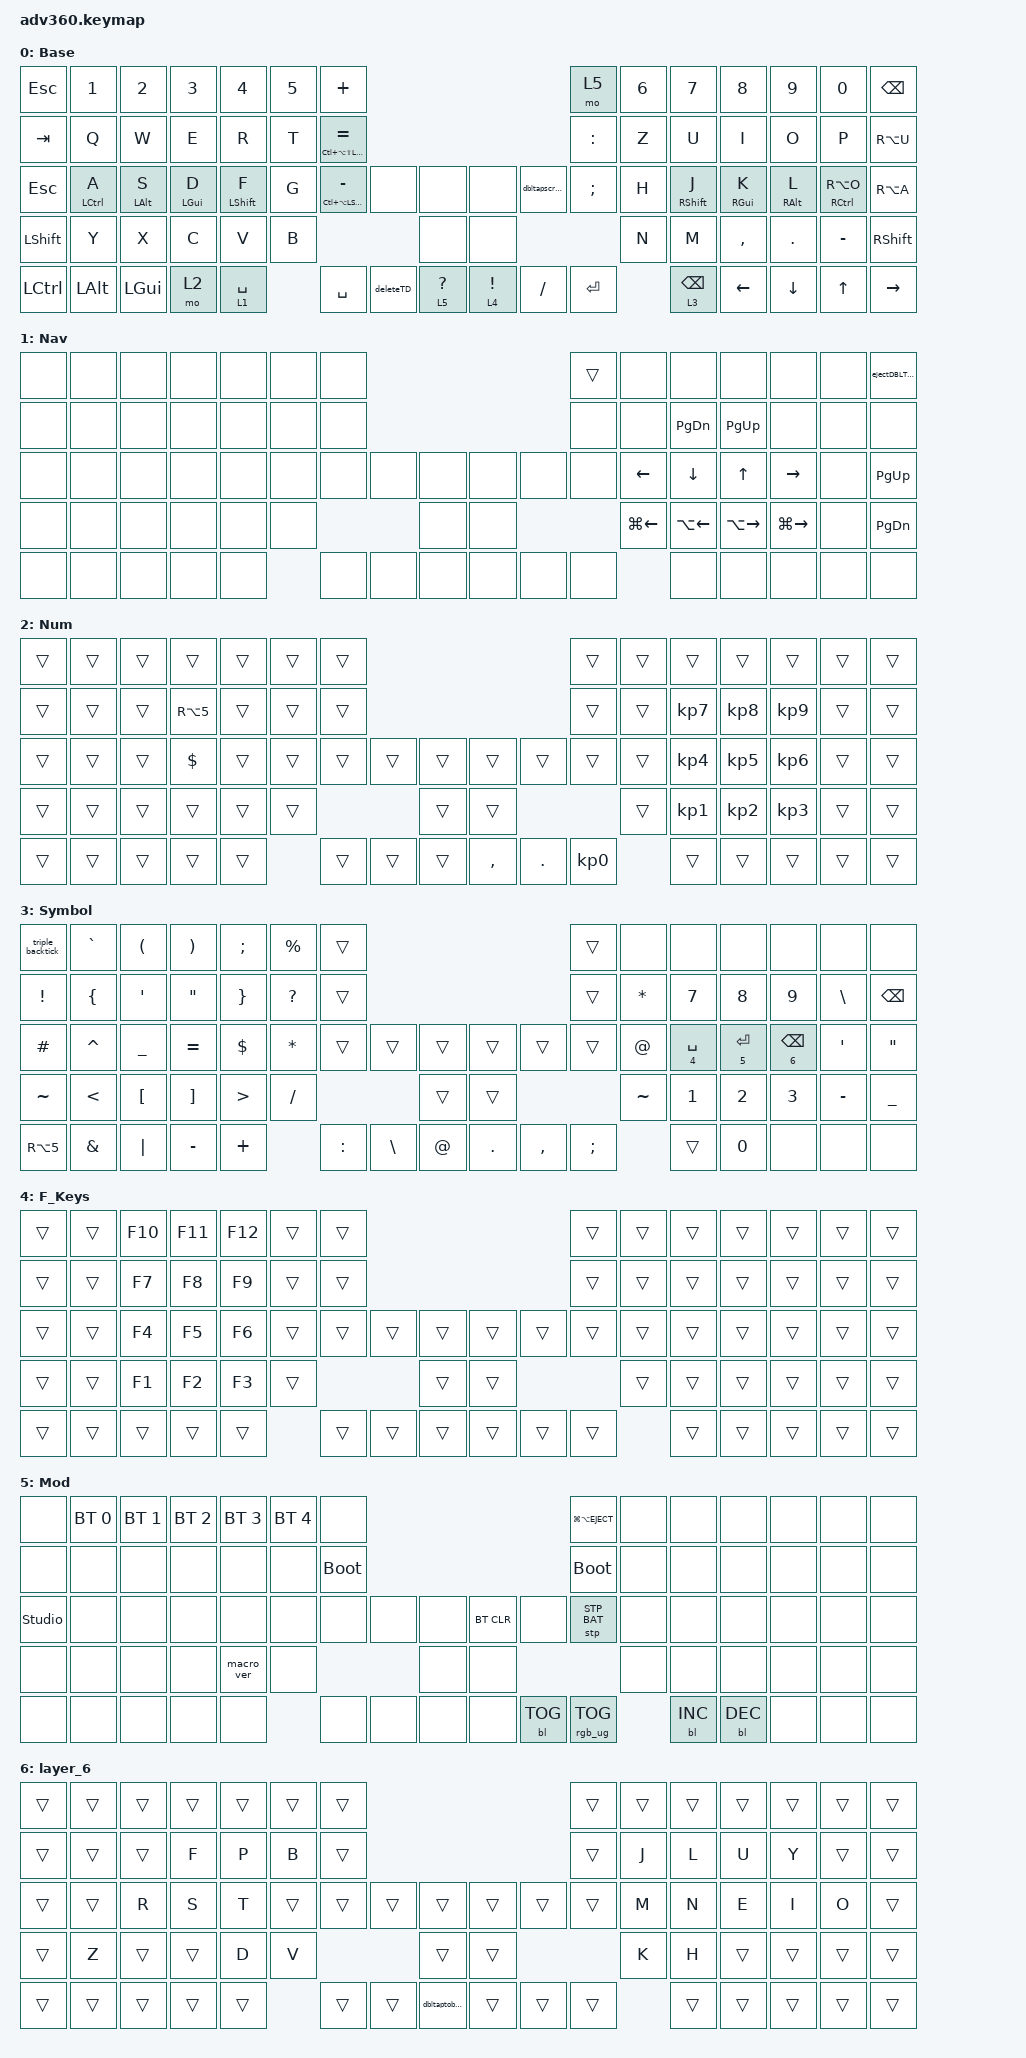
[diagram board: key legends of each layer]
#include <dt-bindings/zmk/stp.h>
#include <behaviors.dtsi>
#include <dt-bindings/zmk/backlight.h>
#include <dt-bindings/zmk/bt.h>
#include <dt-bindings/zmk/keys.h>
#include <dt-bindings/zmk/rgb.h>

/ {
    behaviors {
        #include "macros.dtsi"
      #include "version.dtsi"

        hm: homerow_mods {
            compatible = "zmk,behavior-hold-tap";
            label = "HOMEROW_MODS";
            #binding-cells = <2>;
            tapping-term-ms = <200>;
            quick_tap_ms = <175>;
            flavor = "tap-preferred";
            bindings = <&kp>, <&kp>;
        };

        ejectDBLTap: ejectDBLTap {
            compatible = "zmk,behavior-tap-dance";
            label = "EJECTDBLTAP";
            #binding-cells = <0>;
            bindings = <&none>, <&kp LG(LA(C_EJECT))>;
        };

        deleteTD: deleteTD {
            compatible = "zmk,behavior-tap-dance";
            label = "DELETETD";
            #binding-cells = <0>;
            bindings = <&lt 1 BACKSPACE>, <&kp LA(BACKSPACE)>;

            tapping-term-ms = <170>;
        };

        hml: home_row_mod_left {
            compatible = "zmk,behavior-hold-tap";
            label = "home_row_mod_left";
            bindings = <&kp>, <&kp>;

            #binding-cells = <2>;
            tapping-term-ms = <280>;
            quick-tap-ms = <175>;
            require-prior-idle-ms = <150>;
            flavor = "balanced";
            hold-trigger-on-release;
            hold-trigger-key-positions = <7 13 7 8 9 10 11 12 13 21 22 23 24 25 26 27 37 38 39 40 41 42 43 44 45 53 54 55 56 57 58 59 68 69 70 71 72 73 74 75>;
        };

        hmr: home_row_mod_right {
            compatible = "zmk,behavior-hold-tap";
            bindings = <&kp>, <&kp>;

            #binding-cells = <2>;
            tapping-term-ms = <280>;
            quick-tap-ms = <175>;
            require-prior-idle-ms = <150>;
            flavor = "balanced";
            hold-trigger-on-release;
            hold-trigger-key-positions = <0 1 2 3 4 5 6 14 15 16 17 18 19 20 28 29 30 31 32 33 34 35 36 46 47 48 49 50 51 52 60 61 62 63 64 65 66 67>;
        };

        dbltaptobase: dbltaptobase {
            compatible = "zmk,behavior-tap-dance";
            label = "DBLTAPTOBASE";
            #binding-cells = <0>;
            bindings = <&none>, <&to 0>;
        };

        dbltapscreenshot: dbltapscreenshot {
            compatible = "zmk,behavior-tap-dance";
            label = "DBLTAPSCREENSHOT";
            #binding-cells = <0>;
            bindings = <&none>, <&kp LA(LG(NUMBER_5))>;
        };
    };

    macros {
        triple_backtick: triple_backtick {
            compatible = "zmk,behavior-macro";
            #binding-cells = <0>;
            bindings = <&kp GRAVE &kp GRAVE &kp GRAVE>;
            label = "TRIPLE_BACKTICK";
        };
    };

    combos {
        compatible = "zmk,combos";

        singleqt {
            bindings = <&kp SINGLE_QUOTE>;
            key-positions = <1 2>;
        };

        dblqt {
            bindings = <&kp DOUBLE_QUOTES>;
            key-positions = <2 3>;
        };

        slash {
            bindings = <&kp SLASH>;
            key-positions = <59 58>;
        };

        semicolon {
            bindings = <&kp SEMICOLON>;
            key-positions = <56 57>;
        };

        colon {
            bindings = <&kp COLON>;
            key-positions = <57 58>;
        };

        sz {
            bindings = <&kp RA(S)>;
            key-positions = <12 13>;
        };
    };

    keymap {
        compatible = "zmk,keymap";

        base {
            display-name = "Base";
            bindings = <
&kp ESCAPE        &kp N1               &kp N2           &kp N3           &kp N4             &kp N5  &kp PLUS                                                                                      &mo 5      &kp N6  &kp N7              &kp N8            &kp N9            &kp N0                    &kp BACKSPACE
&kp TAB           &kp Q                &kp W            &kp E            &kp R              &kp T   &mt LC(LA(LS(LEFT_GUI))) EQUAL                                                                &kp COLON  &kp Z   &kp U               &kp I             &kp O             &kp P                     &kp RA(U)
&kp ESC           &hml LEFT_CONTROL A  &hml LEFT_ALT S  &hml LEFT_GUI D  &hml LEFT_SHIFT F  &kp G   &mt LC(LA(LEFT_SHIFT)) MINUS    &none      &none               &none       &dbltapscreenshot  &kp SEMI   &kp H   &hmr RIGHT_SHIFT J  &hmr RIGHT_GUI K  &hmr RIGHT_ALT L  &hmr RIGHT_CONTROL RA(O)  &kp RA(A)
&kp LSHFT         &kp Y                &kp X            &kp C            &kp V              &kp B                                              &none               &none                                     &kp N   &kp M               &kp COMMA         &kp DOT           &kp MINUS                 &kp RSHFT
&kp LEFT_CONTROL  &kp LEFT_ALT         &kp LEFT_GUI     &mo 2            &lt 1 SPACE                &kp SPACE                       &deleteTD  &lt 5 QUESTION      &lt 4 EXCL  &kp SLASH          &kp ENTER          &lt 3 BACKSPACE     &kp LEFT_ARROW    &kp DOWN_ARROW    &kp UP_ARROW              &kp RIGHT
            >;
        };

        nav {
            display-name = "Nav";
            bindings = <
&none  &none  &none  &none  &none  &none  &none                                  &trans  &none               &none               &none                &none                &none  &ejectDBLTap
&none  &none  &none  &none  &none  &none  &none                                  &none   &none               &kp PAGE_DOWN       &kp PAGE_UP          &none                &none  &none
&none  &none  &none  &none  &none  &none  &none  &none  &none      &none  &none  &none   &kp LEFT_ARROW      &kp DOWN_ARROW      &kp UP_ARROW         &kp RIGHT            &none  &kp PG_UP
&none  &none  &none  &none  &none  &none                &none      &none                 &kp LG(LEFT_ARROW)  &kp LA(LEFT_ARROW)  &kp LA(RIGHT_ARROW)  &kp LG(RIGHT_ARROW)  &none  &kp PG_DN
&none  &none  &none  &none  &none         &none  &none  &none      &none  &none  &none                       &none               &none                &none                &none  &none
            >;
        };

        num {
            display-name = "Num";
            bindings = <
&trans  &trans  &trans  &trans            &trans  &trans  &trans                                             &trans           &trans  &trans     &trans     &trans     &trans  &trans
&trans  &trans  &trans  &kp RA(NUMBER_5)  &trans  &trans  &trans                                             &trans           &trans  &kp KP_N7  &kp KP_N8  &kp KP_N9  &trans  &trans
&trans  &trans  &trans  &kp DLLR          &trans  &trans  &trans  &trans  &trans      &trans     &trans      &trans           &trans  &kp KP_N4  &kp KP_N5  &kp KP_N6  &trans  &trans
&trans  &trans  &trans  &trans            &trans  &trans                  &trans      &trans                                  &trans  &kp KP_N1  &kp KP_N2  &kp KP_N3  &trans  &trans
&trans  &trans  &trans  &trans            &trans          &trans  &trans  &trans      &kp COMMA  &kp PERIOD  &kp KP_NUMBER_0          &trans     &trans     &trans     &trans  &trans
            >;
        };

        symbol {
            display-name = "Symbol";
            bindings = <
&triple_backtick  &kp GRAVE       &kp LEFT_PARENTHESIS  &kp RIGHT_PARENTHESIS  &kp SEMI          &kp PERCENT  &trans                                                    &trans         &none      &none               &none               &none                   &none             &none
&kp EXCL          &kp LEFT_BRACE  &kp SINGLE_QUOTE      &kp DOUBLE_QUOTES      &kp RIGHT_BRACE   &kp QMARK    &trans                                                    &trans         &kp ASTRK  &kp NUMBER_7        &kp NUMBER_8        &kp NUMBER_9            &kp BACKSLASH     &kp BACKSPACE
&kp HASH          &kp CARET       &kp UNDERSCORE        &kp EQUAL              &kp DOLLAR        &kp ASTRK    &trans     &trans         &trans      &trans   &trans     &trans         &kp AT     &mt NUMBER_4 SPACE  &mt NUMBER_5 ENTER  &mt NUMBER_6 BACKSPACE  &kp SINGLE_QUOTE  &kp DOUBLE_QUOTES
&kp TILDE         &kp LESS_THAN   &kp LEFT_BRACKET      &kp RIGHT_BRACKET      &kp GREATER_THAN  &kp SLASH                              &trans      &trans                             &kp TILDE  &kp NUMBER_1        &kp NUMBER_2        &kp NUMBER_3            &kp MINUS         &kp UNDERSCORE
&kp RA(NUMBER_5)  &kp AMPS        &kp PIPE              &kp MINUS              &kp PLUS                       &kp COLON  &kp BACKSLASH  &kp AT      &kp DOT  &kp COMMA  &kp SEMICOLON             &trans              &kp NUMBER_0        &none                   &none             &none
            >;
        };

        f_keys {
            bindings = <
&trans  &trans  &kp F10  &kp F11  &kp F12  &trans  &trans                                      &trans  &trans  &trans  &trans  &trans  &trans  &trans
&trans  &trans  &kp F7   &kp F8   &kp F9   &trans  &trans                                      &trans  &trans  &trans  &trans  &trans  &trans  &trans
&trans  &trans  &kp F4   &kp F5   &kp F6   &trans  &trans  &trans  &trans      &trans  &trans  &trans  &trans  &trans  &trans  &trans  &trans  &trans
&trans  &trans  &kp F1   &kp F2   &kp F3   &trans                  &trans      &trans                  &trans  &trans  &trans  &trans  &trans  &trans
&trans  &trans  &trans   &trans   &trans           &trans  &trans  &trans      &trans  &trans  &trans          &trans  &trans  &trans  &trans  &trans
            >;

            label = "F_Keys";
        };

        mod {
            display-name = "Mod";
            bindings = <
&none           &bt BT_SEL 0  &bt BT_SEL 1  &bt BT_SEL 2  &bt BT_SEL 3  &bt BT_SEL 4  &none                                                  &kp LG(LA(C_EJECT))  &none  &none       &none       &none  &none  &none
&none           &none         &none         &none         &none         &none         &bootloader                                            &bootloader          &none  &none       &none       &none  &none  &none
&studio_unlock  &none         &none         &none         &none         &none         &none        &none  &none      &bt BT_CLR  &none       &stp STP_BAT         &none  &none       &none       &none  &none  &none
&none           &none         &none         &none         &macro_ver    &none                             &none      &none                                        &none  &none       &none       &none  &none  &none
&none           &none         &none         &none         &none                       &none        &none  &none      &none       &bl BL_TOG  &rgb_ug RGB_TOG             &bl BL_INC  &bl BL_DEC  &none  &none  &none
            >;
        };

        layer_6 {
            bindings = <
&trans  &trans  &trans  &trans  &trans  &trans  &trans                                             &trans  &trans  &trans  &trans  &trans  &trans  &trans
&trans  &trans  &trans  &kp F   &kp P   &kp B   &trans                                             &trans  &kp J   &kp L   &kp U   &kp Y   &trans  &trans
&trans  &trans  &kp R   &kp S   &kp T   &trans  &trans  &trans  &trans             &trans  &trans  &trans  &kp M   &kp N   &kp E   &kp I   &kp O   &trans
&trans  &kp Z   &trans  &trans  &kp D   &kp V                   &trans             &trans                  &kp K   &kp H   &trans  &trans  &trans  &trans
&trans  &trans  &trans  &trans  &trans          &trans  &trans  &dbltaptobase      &trans  &trans  &trans          &trans  &trans  &trans  &trans  &trans
            >;
        };
    };
};
